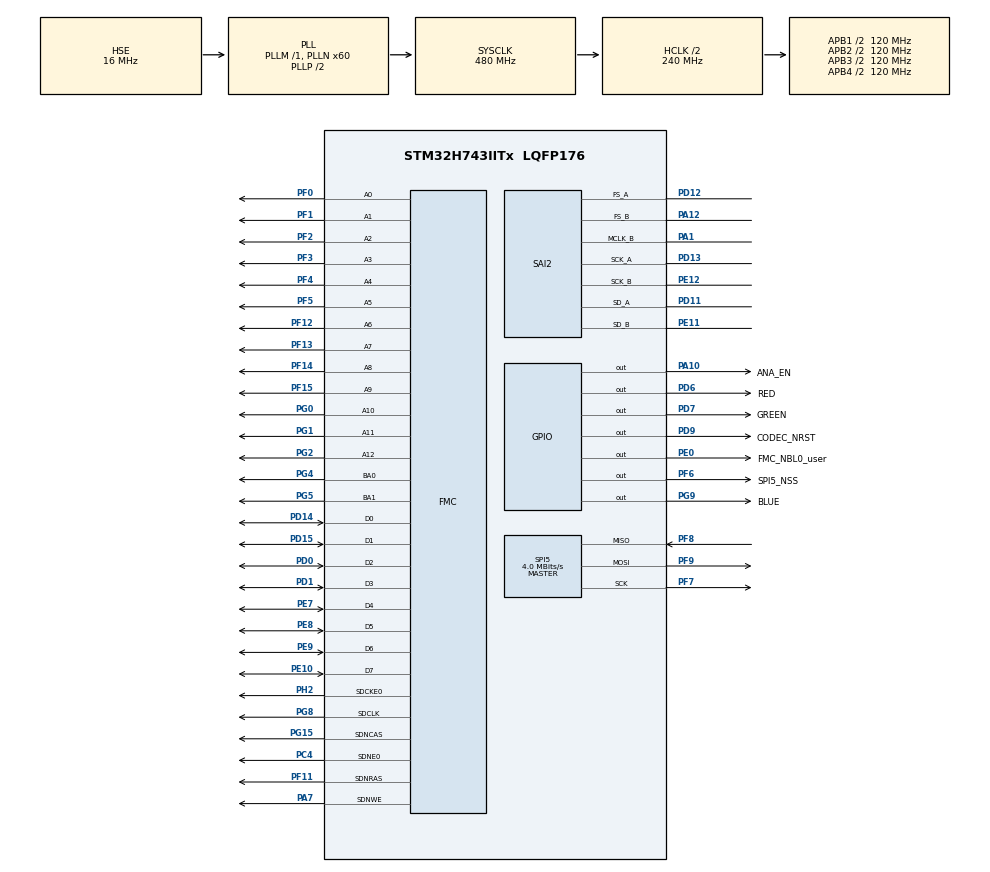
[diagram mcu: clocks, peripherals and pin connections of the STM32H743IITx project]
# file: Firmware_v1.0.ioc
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CORTEX_M7.CPU_DCache=Enabled
CORTEX_M7.CPU_ICache=Enabled
Dma.Request0=SAI2_A
Dma.Request1=SAI2_B
Dma.SAI2_A.0.Direction=DMA_PERIPH_TO_MEMORY
Dma.SAI2_A.0.EventEnable=DISABLE
Dma.SAI2_A.0.FIFOMode=DMA_FIFOMODE_ENABLE
Dma.SAI2_A.0.FIFOThreshold=DMA_FIFO_THRESHOLD_FULL
Dma.SAI2_A.0.Instance=DMA1_Stream0
Dma.SAI2_A.0.MemBurst=DMA_MBURST_SINGLE
Dma.SAI2_A.0.MemDataAlignment=DMA_MDATAALIGN_WORD
Dma.SAI2_A.0.MemInc=DMA_MINC_ENABLE
Dma.SAI2_A.0.Mode=DMA_CIRCULAR
Dma.SAI2_A.0.PeriphBurst=DMA_PBURST_SINGLE
Dma.SAI2_A.0.PeriphDataAlignment=DMA_PDATAALIGN_WORD
Dma.SAI2_A.0.PeriphInc=DMA_PINC_DISABLE
Dma.SAI2_A.0.Polarity=HAL_DMAMUX_REQ_GEN_RISING
Dma.SAI2_A.0.Priority=DMA_PRIORITY_VERY_HIGH
Dma.SAI2_A.0.RequestNumber=1
Dma.SAI2_A.0.SignalID=NONE
Dma.SAI2_A.0.SyncEnable=DISABLE
Dma.SAI2_A.0.SyncPolarity=HAL_DMAMUX_SYNC_NO_EVENT
Dma.SAI2_A.0.SyncRequestNumber=1
Dma.SAI2_A.0.SyncSignalID=NONE
Dma.SAI2_B.1.Direction=DMA_MEMORY_TO_PERIPH
Dma.SAI2_B.1.EventEnable=DISABLE
Dma.SAI2_B.1.FIFOMode=DMA_FIFOMODE_ENABLE
Dma.SAI2_B.1.FIFOThreshold=DMA_FIFO_THRESHOLD_FULL
Dma.SAI2_B.1.Instance=DMA1_Stream1
Dma.SAI2_B.1.MemBurst=DMA_MBURST_SINGLE
Dma.SAI2_B.1.MemDataAlignment=DMA_MDATAALIGN_WORD
Dma.SAI2_B.1.MemInc=DMA_MINC_ENABLE
Dma.SAI2_B.1.Mode=DMA_CIRCULAR
Dma.SAI2_B.1.PeriphBurst=DMA_PBURST_SINGLE
Dma.SAI2_B.1.PeriphDataAlignment=DMA_PDATAALIGN_WORD
Dma.SAI2_B.1.PeriphInc=DMA_PINC_DISABLE
Dma.SAI2_B.1.Polarity=HAL_DMAMUX_REQ_GEN_RISING
Dma.SAI2_B.1.Priority=DMA_PRIORITY_VERY_HIGH
Dma.SAI2_B.1.RequestNumber=1
Dma.SAI2_B.1.SignalID=NONE
Dma.SAI2_B.1.SyncEnable=DISABLE
Dma.SAI2_B.1.SyncPolarity=HAL_DMAMUX_SYNC_NO_EVENT
Dma.SAI2_B.1.SyncRequestNumber=1
Dma.SAI2_B.1.SyncSignalID=NONE
FMC.CASLatency1=FMC_SDRAM_CAS_LATENCY_2
FMC.ColumnBitsNumber1=FMC_SDRAM_COLUMN_BITS_NUM_10
FMC.ExitSelfRefreshDelay1=7
FMC.LoadToActiveDelay1=2
FMC.RCDDelay1=2
FMC.RPDelay1=2
FMC.ReadBurst1=FMC_SDRAM_RBURST_ENABLE
FMC.RowCycleDelay1=6
FMC.SDClockPeriod1=FMC_SDRAM_CLOCK_PERIOD_2
FMC.SDClockPeriod2=FMC_SDRAM_CLOCK_PERIOD_2
FMC.SelfRefreshTime1=5
FMC.WriteRecoveryTime1=3
Mcu.Family=STM32H7
Mcu.Name=STM32H743IITx
Mcu.Package=LQFP176
NVIC.DMA1_Stream0_IRQn=true\:0\:0\:false\:false\:true\:false\:true
NVIC.DMA1_Stream1_IRQn=true\:0\:0\:false\:false\:true\:false\:true
NVIC.FMC_IRQn=true\:0\:0\:false\:false\:true\:true\:true
NVIC.FPU_IRQn=true\:0\:0\:false\:false\:true\:true\:false
NVIC.PriorityGroup=NVIC_PRIORITYGROUP_4
NVIC.SAI2_IRQn=true\:0\:0\:false\:false\:true\:true\:true
NVIC.SPI5_IRQn=true\:0\:0\:false\:false\:true\:true\:true
PA1.GPIO_PuPd=GPIO_PULLUP
PA1.GPIO_Speed=GPIO_SPEED_FREQ_VERY_HIGH
PA1.Mode=SAI_B_MasterWithClock
PA1.Signal=SAI2_MCLK_B
PA10.GPIO_Label=ANA_EN
PA10.GPIO_Speed=GPIO_SPEED_FREQ_LOW
PA10.Signal=GPIO_Output
PA12.GPIO_PuPd=GPIO_PULLUP
PA12.GPIO_Speed=GPIO_SPEED_FREQ_VERY_HIGH
PA12.Mode=SAI_B_MasterWithClock
PA12.Signal=SAI2_FS_B
PA7.Signal=FMC_SDNWE
PC14-OSC32_IN\ (OSC32_IN).Mode=LSE-External-Oscillator
PC14-OSC32_IN\ (OSC32_IN).Signal=RCC_OSC32_IN
PC15-OSC32_OUT\ (OSC32_OUT).Mode=LSE-External-Oscillator
PC15-OSC32_OUT\ (OSC32_OUT).Signal=RCC_OSC32_OUT
PC4.Mode=SdramChipSelect1_1
PC4.Signal=FMC_SDNE0
PD0.Signal=FMC_D2_DA2
PD1.Signal=FMC_D3_DA3
PD11.GPIO_PuPd=GPIO_PULLUP
PD11.GPIO_Speed=GPIO_SPEED_FREQ_VERY_HIGH
PD11.Mode=SAI_A_Master
PD11.Signal=SAI2_SD_A
PD12.GPIO_PuPd=GPIO_PULLUP
PD12.GPIO_Speed=GPIO_SPEED_FREQ_VERY_HIGH
PD12.Mode=SAI_A_Master
PD12.Signal=SAI2_FS_A
PD13.GPIO_PuPd=GPIO_PULLUP
PD13.GPIO_Speed=GPIO_SPEED_FREQ_VERY_HIGH
PD13.Mode=SAI_A_Master
PD13.Signal=SAI2_SCK_A
PD14.Signal=FMC_D0_DA0
PD15.Signal=FMC_D1_DA1
PD6.GPIO_Label=RED
PD6.Signal=GPIO_Output
PD7.GPIO_Label=GREEN
PD7.Signal=GPIO_Output
PD9.GPIO_Label=CODEC_NRST
PD9.Signal=GPIO_Output
PE0.GPIO_Label=FMC_NBL0_user
PE0.Signal=GPIO_Output
PE10.Signal=FMC_D7_DA7
PE11.GPIO_PuPd=GPIO_PULLUP
PE11.GPIO_Speed=GPIO_SPEED_FREQ_VERY_HIGH
PE11.Mode=SAI_B_MasterWithClock
PE11.Signal=SAI2_SD_B
PE12.GPIO_PuPd=GPIO_PULLUP
PE12.GPIO_Speed=GPIO_SPEED_FREQ_VERY_HIGH
PE12.Mode=SAI_B_MasterWithClock
PE12.Signal=SAI2_SCK_B
PE7.Signal=FMC_D4_DA4
PE8.Signal=FMC_D5_DA5
PE9.Signal=FMC_D6_DA6
PF0.Signal=FMC_A0
PF1.Signal=FMC_A1
PF11.Signal=FMC_SDNRAS
PF12.Signal=FMC_A6
PF13.Signal=FMC_A7
PF14.Signal=FMC_A8
PF15.Signal=FMC_A9
PF2.Signal=FMC_A2
PF3.Signal=FMC_A3
PF4.Signal=FMC_A4
PF5.Signal=FMC_A5
PF6.GPIO_Label=SPI5_NSS
PF6.Signal=GPIO_Output
PF7.Mode=Full_Duplex_Master
PF7.Signal=SPI5_SCK
PF8.Mode=Full_Duplex_Master
PF8.Signal=SPI5_MISO
PF9.Mode=Full_Duplex_Master
PF9.Signal=SPI5_MOSI
PG0.Signal=FMC_A10
PG1.Signal=FMC_A11
PG15.Signal=FMC_SDNCAS
PG2.Signal=FMC_A12
PG4.Signal=FMC_A14_BA0
PG5.Signal=FMC_A15_BA1
PG8.Signal=FMC_SDCLK
PG9.GPIO_Label=BLUE
PG9.Signal=GPIO_Output
PH0-OSC_IN\ (PH0).Mode=HSE-External-Oscillator
PH0-OSC_IN\ (PH0).Signal=RCC_OSC_IN
PH1-OSC_OUT\ (PH1).Mode=HSE-External-Oscillator
PH1-OSC_OUT\ (PH1).Signal=RCC_OSC_OUT
PH2.Mode=SdramChipSelect1_1
PH2.Signal=FMC_SDCKE0
ProjectManager.HeapSize=0x200
ProjectManager.StackSize=0x400
ProjectManager.TargetToolchain=TrueSTUDIO
RCC.ADCFreq_Value=49151999.080882356
RCC.APB1Freq_Value=120000000
RCC.APB2Freq_Value=120000000
RCC.APB3Freq_Value=120000000
RCC.APB4Freq_Value=120000000
RCC.CortexFreq_Value=480000000
RCC.D1PPRE=RCC_APB3_DIV2
RCC.D2PPRE1=RCC_APB1_DIV2
RCC.D2PPRE2=RCC_APB2_DIV2
RCC.D3PPRE=RCC_APB4_DIV2
RCC.DIVM1=1
RCC.DIVM2=1
RCC.DIVN1=60
RCC.DIVN2=52
RCC.DIVP2=17
RCC.DIVQ1=5
RCC.HCLKFreq_Value=240000000
RCC.HPRE=RCC_HCLK_DIV2
RCC.HSE_VALUE=16000000
RCC.PLL2FRACN=1835
RCC.PLLFRACN=0
RCC.PLLSourceVirtual=RCC_PLLSOURCE_HSE
RCC.SAI23CLockSelection=RCC_SAI23CLKSOURCE_PLL2
RCC.SYSCLKFreq_VALUE=480000000
RCC.SYSCLKSource=RCC_SYSCLKSOURCE_PLLCLK
RCC.Spi45ClockSelection=RCC_SPI45CLKSOURCE_HSE
RCC.USBFreq_Value=192000000
SAI2.AudioFrequency-SAI_A_Master=SAI_AUDIO_FREQUENCY_96K
SAI2.AudioFrequency-SAI_B_MasterWithClock=SAI_AUDIO_FREQUENCY_96K
SAI2.AudioMode-SAI_A_Master=SAI_MODEMASTER_RX
SAI2.ClockStrobing-SAI_B_MasterWithClock=SAI_CLOCKSTROBING_RISINGEDGE
SAI2.DataSize-SAI_A_Master=SAI_DATASIZE_32
SAI2.DataSize-SAI_B_MasterWithClock=SAI_DATASIZE_32
SAI2.ErrorAudioFreq-SAI_A_Master=0.0 %
SAI2.ErrorAudioFreq-SAI_B_MasterWithClock=0.0 %
SAI2.FIFOThreshold-SAI_A_Master=SAI_FIFOTHRESHOLD_FULL
SAI2.FIFOThreshold-SAI_B_MasterWithClock=SAI_FIFOTHRESHOLD_FULL
SAI2.FSPolarity-SAI_A_Master=SAI_FS_ACTIVE_HIGH
SAI2.FSPolarity-SAI_B_MasterWithClock=SAI_FS_ACTIVE_HIGH
SAI2.FrameLength-SAI_A_Master=256
SAI2.FrameLength-SAI_B_MasterWithClock=256
SAI2.Instance-SAI_A_Master=SAI$Index_Block_A
SAI2.Instance-SAI_B_MasterWithClock=SAI$Index_Block_B
SAI2.MClockEnable-SAI_A_Master=SAI_MASTERCLOCK_DISABLE
SAI2.MClockEnable-SAI_B_MasterWithClock=SAI_MASTERCLOCK_ENABLE
SAI2.OutputDrive-SAI_A_Master=SAI_OUTPUTDRIVE_ENABLE
SAI2.OutputDrive-SAI_B_MasterWithClock=SAI_OUTPUTDRIVE_ENABLE
SAI2.RealAudioFreq-SAI_A_Master=95.999 KHz
SAI2.RealAudioFreq-SAI_B_MasterWithClock=95.999 KHz
SAI2.SlotActive-SAI_A_Master=0x000000FF
SAI2.SlotActive-SAI_B_MasterWithClock=0x000000FF
SAI2.SlotNumber-SAI_A_Master=8
SAI2.SlotNumber-SAI_B_MasterWithClock=8
SAI2.SynchroExt=SAI_SYNCEXT_OUTBLOCKB_ENABLE
SAI2.VirtualMode-SAI_A_Master=VM_MASTER
SAI2.VirtualMode-SAI_B_MasterWithClock=VM_MASTER
SAI2.VirtualSlotActive-SAI_A_Master=SAI_SLOT_USERSETTING
SAI2.VirtualSlotActive-SAI_B_MasterWithClock=SAI_SLOT_USERSETTING
SAI2.VirtualSlotActive0-SAI_A_Master=true
SAI2.VirtualSlotActive0-SAI_B_MasterWithClock=true
SAI2.VirtualSlotActive1-SAI_A_Master=true
SAI2.VirtualSlotActive1-SAI_B_MasterWithClock=true
SAI2.VirtualSlotActive2-SAI_A_Master=true
SAI2.VirtualSlotActive2-SAI_B_MasterWithClock=true
SAI2.VirtualSlotActive3-SAI_A_Master=true
SAI2.VirtualSlotActive3-SAI_B_MasterWithClock=true
SAI2.VirtualSlotActive4-SAI_A_Master=true
SAI2.VirtualSlotActive4-SAI_B_MasterWithClock=true
SAI2.VirtualSlotActive5-SAI_A_Master=true
SAI2.VirtualSlotActive5-SAI_B_MasterWithClock=true
SAI2.VirtualSlotActive6-SAI_A_Master=true
SAI2.VirtualSlotActive6-SAI_B_MasterWithClock=true
SAI2.VirtualSlotActive7-SAI_A_Master=true
SAI2.VirtualSlotActive7-SAI_B_MasterWithClock=true
SH.FMC_A0.0=FMC_A0,13b-sda1
SH.FMC_A1.0=FMC_A1,13b-sda1
SH.FMC_A10.0=FMC_A10,13b-sda1
SH.FMC_A11.0=FMC_A11,13b-sda1
SH.FMC_A12.0=FMC_A12,13b-sda1
SH.FMC_A14_BA0.0=FMC_BA0,FourSdramBanks1
SH.FMC_A15_BA1.0=FMC_BA1,FourSdramBanks1
SH.FMC_A2.0=FMC_A2,13b-sda1
SH.FMC_A3.0=FMC_A3,13b-sda1
SH.FMC_A4.0=FMC_A4,13b-sda1
SH.FMC_A5.0=FMC_A5,13b-sda1
SH.FMC_A6.0=FMC_A6,13b-sda1
SH.FMC_A7.0=FMC_A7,13b-sda1
SH.FMC_A8.0=FMC_A8,13b-sda1
SH.FMC_A9.0=FMC_A9,13b-sda1
SH.FMC_D0_DA0.0=FMC_D0,sd-8b-d1
SH.FMC_D1_DA1.0=FMC_D1,sd-8b-d1
SH.FMC_D2_DA2.0=FMC_D2,sd-8b-d1
SH.FMC_D3_DA3.0=FMC_D3,sd-8b-d1
SH.FMC_D4_DA4.0=FMC_D4,sd-8b-d1
SH.FMC_D5_DA5.0=FMC_D5,sd-8b-d1
SH.FMC_D6_DA6.0=FMC_D6,sd-8b-d1
SH.FMC_D7_DA7.0=FMC_D7,sd-8b-d1
SH.FMC_SDCLK.0=FMC_SDCLK,13b-sda1
SH.FMC_SDNCAS.0=FMC_SDNCAS,13b-sda1
SH.FMC_SDNRAS.0=FMC_SDNRAS,13b-sda1
SH.FMC_SDNWE.0=FMC_SDNWE,13b-sda1
SPI5.BaudRatePrescaler=SPI_BAUDRATEPRESCALER_4
SPI5.CLKPhase=SPI_PHASE_2EDGE
SPI5.CalculateBaudRate=4.0 MBits/s
SPI5.DataSize=SPI_DATASIZE_8BIT
SPI5.Direction=SPI_DIRECTION_2LINES
SPI5.FifoThreshold=SPI_FIFO_THRESHOLD_08DATA
SPI5.MasterReceiverAutoSusp=SPI_MASTER_RX_AUTOSUSP_DISABLE
SPI5.Mode=SPI_MODE_MASTER
SPI5.VirtualType=VM_MASTER
VP_SAI2_VP_$IpInstance_SYNCHRO_EXTERNAL.Mode=SynchroExternal
board=custom

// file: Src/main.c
/* USER CODE BEGIN Header */
/**
  ******************************************************************************
  * @file           : main.c
  * @brief          : Main program body
  ******************************************************************************
  * @attention
  *
  * <h2><center>&copy; Copyright (c) 2019 STMicroelectronics.
  * All rights reserved.</center></h2>
  *
  * This software component is licensed by ST under BSD 3-Clause license,
  * the "License"; You may not use this file except in compliance with the
  * License. You may obtain a copy of the License at:
  *                        opensource.org/licenses/BSD-3-Clause
  *
  ******************************************************************************
  */
/* USER CODE END Header */

#include "main.h"

/* USER CODE BEGIN Includes */
#include "SDRAM.h"
#include "CODEC.h"
/* USER CODE END Includes */

/* USER CODE BEGIN PD */
#define RAM_D1_BASE	0x24000000
#define RAM_D2_BASE	0x30000000
#define RAM_D3_BASE	0x38000000
#define ATTR_RAM_D1 __attribute__((section(".D1_data")))
#define ATTR_RAM_D2 __attribute__((section(".D2_data")))
#define ATTR_RAM_D3 __attribute__((section(".D3_data")))

/* USER CODE END PD */

SAI_HandleTypeDef hsai_BlockA2;
SAI_HandleTypeDef hsai_BlockB2;
DMA_HandleTypeDef hdma_sai2_a;
DMA_HandleTypeDef hdma_sai2_b;

SPI_HandleTypeDef hspi5;

SDRAM_HandleTypeDef hsdram1;

/* USER CODE BEGIN PV */
 volatile uint32_t audio_in[8]  ATTR_RAM_D3;
 volatile uint32_t audio_out[8]  ATTR_RAM_D3;
 uint32_t array[8] ATTR_RAM_D3;
/* USER CODE END PV */

void SystemClock_Config(void);
static void MX_GPIO_Init(void);
static void MX_FMC_Init(void);
static void MX_SAI2_Init(void);
static void MX_SPI5_Init(void);
static void MX_DMA_Init(void);

/* USER CODE BEGIN 0 */
void HAL_SAI_RxCpltCallback(SAI_HandleTypeDef *hsai)
{

	 /*audio_out[1] = audio_in[2];
	 audio_out[2] = audio_in[3];*/
	 if (hsai_BlockB2.State == HAL_SAI_STATE_READY)   HAL_SAI_Transmit(&hsai_BlockB2, (uint8_t *)audio_in, 8, 100);

	 HAL_Delay(1);

}

/* USER CODE END 0 */

int main(void)
{

  /* Enable I-Cache---------------------------------------------------------*/
  SCB_EnableICache();

  /* Enable D-Cache---------------------------------------------------------*/
  SCB_EnableDCache();

  /* MCU Configuration--------------------------------------------------------*/

  /* Reset of all peripherals, Initializes the Flash interface and the Systick. */
  HAL_Init();

  /* Configure the system clock */
  SystemClock_Config();

  /* Initialize all configured peripherals */
  MX_GPIO_Init();
  MX_FMC_Init();
  MX_SAI2_Init();
  MX_SPI5_Init();
  MX_DMA_Init();
  /* USER CODE BEGIN 2 */
  SDRAM_Init(&hsdram1);
  SDRAM_Clear();

  CODEC_Init_TDM(&hspi5);
  for (uint16_t x = 0; x < 2000; x++)
  {
	  HAL_SAI_Receive(&hsai_BlockA2, (uint8_t *)array, 8, 100);
	  HAL_SAI_Transmit(&hsai_BlockB2, (uint8_t *)array, 8, 100);
  }
  HAL_SAI_Receive_DMA(&hsai_BlockA2, (uint8_t *)audio_in, 8);

  /* USER CODE END 2 */

  /* Infinite loop */
  while (1)
  {

  }
}

void SystemClock_Config(void)
{
  RCC_OscInitTypeDef RCC_OscInitStruct = {0};
  RCC_ClkInitTypeDef RCC_ClkInitStruct = {0};
  RCC_PeriphCLKInitTypeDef PeriphClkInitStruct = {0};

  /** Supply configuration update enable
  */
  HAL_PWREx_ConfigSupply(PWR_LDO_SUPPLY);
  /** Configure the main internal regulator output voltage
  */
  __HAL_PWR_VOLTAGESCALING_CONFIG(PWR_REGULATOR_VOLTAGE_SCALE0);

  while(!__HAL_PWR_GET_FLAG(PWR_FLAG_VOSRDY)) {}
  /** Macro to configure the PLL clock source
  */
  __HAL_RCC_PLL_PLLSOURCE_CONFIG(RCC_PLLSOURCE_HSE);
  /** Initializes the CPU, AHB and APB busses clocks
  */
  RCC_OscInitStruct.OscillatorType = RCC_OSCILLATORTYPE_HSE;
  RCC_OscInitStruct.HSEState = RCC_HSE_ON;
  RCC_OscInitStruct.PLL.PLLState = RCC_PLL_ON;
  RCC_OscInitStruct.PLL.PLLSource = RCC_PLLSOURCE_HSE;
  RCC_OscInitStruct.PLL.PLLM = 1;
  RCC_OscInitStruct.PLL.PLLN = 60;
  RCC_OscInitStruct.PLL.PLLP = 2;
  RCC_OscInitStruct.PLL.PLLQ = 5;
  RCC_OscInitStruct.PLL.PLLR = 2;
  RCC_OscInitStruct.PLL.PLLRGE = RCC_PLL1VCIRANGE_3;
  RCC_OscInitStruct.PLL.PLLVCOSEL = RCC_PLL1VCOWIDE;
  RCC_OscInitStruct.PLL.PLLFRACN = 0;
  if (HAL_RCC_OscConfig(&RCC_OscInitStruct) != HAL_OK)
  {
    Error_Handler();
  }
  /** Initializes the CPU, AHB and APB busses clocks
  */
  RCC_ClkInitStruct.ClockType = RCC_CLOCKTYPE_HCLK|RCC_CLOCKTYPE_SYSCLK
                              |RCC_CLOCKTYPE_PCLK1|RCC_CLOCKTYPE_PCLK2
                              |RCC_CLOCKTYPE_D3PCLK1|RCC_CLOCKTYPE_D1PCLK1;
  RCC_ClkInitStruct.SYSCLKSource = RCC_SYSCLKSOURCE_PLLCLK;
  RCC_ClkInitStruct.SYSCLKDivider = RCC_SYSCLK_DIV1;
  RCC_ClkInitStruct.AHBCLKDivider = RCC_HCLK_DIV2;
  RCC_ClkInitStruct.APB3CLKDivider = RCC_APB3_DIV2;
  RCC_ClkInitStruct.APB1CLKDivider = RCC_APB1_DIV2;
  RCC_ClkInitStruct.APB2CLKDivider = RCC_APB2_DIV2;
  RCC_ClkInitStruct.APB4CLKDivider = RCC_APB4_DIV2;

  if (HAL_RCC_ClockConfig(&RCC_ClkInitStruct, FLASH_LATENCY_4) != HAL_OK)
  {
    Error_Handler();
  }
  PeriphClkInitStruct.PeriphClockSelection = RCC_PERIPHCLK_SPI5|RCC_PERIPHCLK_SAI2
                              |RCC_PERIPHCLK_FMC;
  PeriphClkInitStruct.PLL2.PLL2M = 1;
  PeriphClkInitStruct.PLL2.PLL2N = 52;
  PeriphClkInitStruct.PLL2.PLL2P = 17;
  PeriphClkInitStruct.PLL2.PLL2Q = 2;
  PeriphClkInitStruct.PLL2.PLL2R = 2;
  PeriphClkInitStruct.PLL2.PLL2RGE = RCC_PLL2VCIRANGE_3;
  PeriphClkInitStruct.PLL2.PLL2VCOSEL = RCC_PLL2VCOWIDE;
  PeriphClkInitStruct.PLL2.PLL2FRACN = 1835;
  PeriphClkInitStruct.FmcClockSelection = RCC_FMCCLKSOURCE_D1HCLK;
  PeriphClkInitStruct.Sai23ClockSelection = RCC_SAI23CLKSOURCE_PLL2;
  PeriphClkInitStruct.Spi45ClockSelection = RCC_SPI45CLKSOURCE_HSE;
  if (HAL_RCCEx_PeriphCLKConfig(&PeriphClkInitStruct) != HAL_OK)
  {
    Error_Handler();
  }
}

static void MX_SAI2_Init(void)
{

  hsai_BlockA2.Instance = SAI2_Block_A;
  hsai_BlockA2.Init.Protocol = SAI_FREE_PROTOCOL;
  hsai_BlockA2.Init.AudioMode = SAI_MODEMASTER_RX;
  hsai_BlockA2.Init.DataSize = SAI_DATASIZE_32;
  hsai_BlockA2.Init.FirstBit = SAI_FIRSTBIT_MSB;
  hsai_BlockA2.Init.ClockStrobing = SAI_CLOCKSTROBING_FALLINGEDGE;
  hsai_BlockA2.Init.Synchro = SAI_ASYNCHRONOUS;
  hsai_BlockA2.Init.OutputDrive = SAI_OUTPUTDRIVE_ENABLE;
  hsai_BlockA2.Init.NoDivider = SAI_MASTERDIVIDER_ENABLE;
  hsai_BlockA2.Init.FIFOThreshold = SAI_FIFOTHRESHOLD_FULL;
  hsai_BlockA2.Init.AudioFrequency = SAI_AUDIO_FREQUENCY_96K;
  hsai_BlockA2.Init.SynchroExt = SAI_SYNCEXT_OUTBLOCKB_ENABLE;
  hsai_BlockA2.Init.MonoStereoMode = SAI_STEREOMODE;
  hsai_BlockA2.Init.CompandingMode = SAI_NOCOMPANDING;
  hsai_BlockA2.Init.PdmInit.Activation = DISABLE;
  hsai_BlockA2.Init.PdmInit.MicPairsNbr = 1;
  hsai_BlockA2.Init.PdmInit.ClockEnable = SAI_PDM_CLOCK1_ENABLE;
  hsai_BlockA2.FrameInit.FrameLength = 256;
  hsai_BlockA2.FrameInit.ActiveFrameLength = 1;
  hsai_BlockA2.FrameInit.FSDefinition = SAI_FS_STARTFRAME;
  hsai_BlockA2.FrameInit.FSPolarity = SAI_FS_ACTIVE_HIGH;
  hsai_BlockA2.FrameInit.FSOffset = SAI_FS_FIRSTBIT;
  hsai_BlockA2.SlotInit.FirstBitOffset = 0;
  hsai_BlockA2.SlotInit.SlotSize = SAI_SLOTSIZE_DATASIZE;
  hsai_BlockA2.SlotInit.SlotNumber = 8;
  hsai_BlockA2.SlotInit.SlotActive = 0x000000FF;
  if (HAL_SAI_Init(&hsai_BlockA2) != HAL_OK)
  {
    Error_Handler();
  }
  hsai_BlockB2.Instance = SAI2_Block_B;
  hsai_BlockB2.Init.Protocol = SAI_FREE_PROTOCOL;
  hsai_BlockB2.Init.AudioMode = SAI_MODEMASTER_TX;
  hsai_BlockB2.Init.DataSize = SAI_DATASIZE_32;
  hsai_BlockB2.Init.FirstBit = SAI_FIRSTBIT_MSB;
  hsai_BlockB2.Init.ClockStrobing = SAI_CLOCKSTROBING_RISINGEDGE;
  hsai_BlockB2.Init.Synchro = SAI_ASYNCHRONOUS;
  hsai_BlockB2.Init.OutputDrive = SAI_OUTPUTDRIVE_ENABLE;
  hsai_BlockB2.Init.NoDivider = SAI_MASTERDIVIDER_ENABLE;
  hsai_BlockB2.Init.FIFOThreshold = SAI_FIFOTHRESHOLD_FULL;
  hsai_BlockB2.Init.AudioFrequency = SAI_AUDIO_FREQUENCY_96K;
  hsai_BlockB2.Init.SynchroExt = SAI_SYNCEXT_OUTBLOCKB_ENABLE;
  hsai_BlockB2.Init.MonoStereoMode = SAI_STEREOMODE;
  hsai_BlockB2.Init.CompandingMode = SAI_NOCOMPANDING;
  hsai_BlockB2.Init.TriState = SAI_OUTPUT_NOTRELEASED;
  hsai_BlockB2.Init.PdmInit.Activation = DISABLE;
  hsai_BlockB2.Init.PdmInit.MicPairsNbr = 1;
  hsai_BlockB2.Init.PdmInit.ClockEnable = SAI_PDM_CLOCK1_ENABLE;
  hsai_BlockB2.FrameInit.FrameLength = 256;
  hsai_BlockB2.FrameInit.ActiveFrameLength = 1;
  hsai_BlockB2.FrameInit.FSDefinition = SAI_FS_STARTFRAME;
  hsai_BlockB2.FrameInit.FSPolarity = SAI_FS_ACTIVE_HIGH;
  hsai_BlockB2.FrameInit.FSOffset = SAI_FS_FIRSTBIT;
  hsai_BlockB2.SlotInit.FirstBitOffset = 0;
  hsai_BlockB2.SlotInit.SlotSize = SAI_SLOTSIZE_DATASIZE;
  hsai_BlockB2.SlotInit.SlotNumber = 8;
  hsai_BlockB2.SlotInit.SlotActive = 0x000000FF;
  if (HAL_SAI_Init(&hsai_BlockB2) != HAL_OK)
  {
    Error_Handler();
  }

}

static void MX_SPI5_Init(void)
{

  /* SPI5 parameter configuration*/
  hspi5.Instance = SPI5;
  hspi5.Init.Mode = SPI_MODE_MASTER;
  hspi5.Init.Direction = SPI_DIRECTION_2LINES;
  hspi5.Init.DataSize = SPI_DATASIZE_8BIT;
  hspi5.Init.CLKPolarity = SPI_POLARITY_LOW;
  hspi5.Init.CLKPhase = SPI_PHASE_2EDGE;
  hspi5.Init.NSS = SPI_NSS_SOFT;
  hspi5.Init.BaudRatePrescaler = SPI_BAUDRATEPRESCALER_4;
  hspi5.Init.FirstBit = SPI_FIRSTBIT_MSB;
  hspi5.Init.TIMode = SPI_TIMODE_DISABLE;
  hspi5.Init.CRCCalculation = SPI_CRCCALCULATION_DISABLE;
  hspi5.Init.CRCPolynomial = 0x0;
  hspi5.Init.NSSPMode = SPI_NSS_PULSE_ENABLE;
  hspi5.Init.NSSPolarity = SPI_NSS_POLARITY_LOW;
  hspi5.Init.FifoThreshold = SPI_FIFO_THRESHOLD_08DATA;
  hspi5.Init.TxCRCInitializationPattern = SPI_CRC_INITIALIZATION_ALL_ZERO_PATTERN;
  hspi5.Init.RxCRCInitializationPattern = SPI_CRC_INITIALIZATION_ALL_ZERO_PATTERN;
  hspi5.Init.MasterSSIdleness = SPI_MASTER_SS_IDLENESS_00CYCLE;
  hspi5.Init.MasterInterDataIdleness = SPI_MASTER_INTERDATA_IDLENESS_00CYCLE;
  hspi5.Init.MasterReceiverAutoSusp = SPI_MASTER_RX_AUTOSUSP_DISABLE;
  hspi5.Init.MasterKeepIOState = SPI_MASTER_KEEP_IO_STATE_DISABLE;
  hspi5.Init.IOSwap = SPI_IO_SWAP_DISABLE;
  if (HAL_SPI_Init(&hspi5) != HAL_OK)
  {
    Error_Handler();
  }

}

static void MX_DMA_Init(void)
{

  /* DMA controller clock enable */
  __HAL_RCC_DMA1_CLK_ENABLE();

  /* DMA interrupt init */
  /* DMA1_Stream0_IRQn interrupt configuration */
  HAL_NVIC_SetPriority(DMA1_Stream0_IRQn, 0, 0);
  HAL_NVIC_EnableIRQ(DMA1_Stream0_IRQn);
  /* DMA1_Stream1_IRQn interrupt configuration */
  HAL_NVIC_SetPriority(DMA1_Stream1_IRQn, 0, 0);
  HAL_NVIC_EnableIRQ(DMA1_Stream1_IRQn);

}

/* FMC initialization function */
static void MX_FMC_Init(void)
{

  FMC_SDRAM_TimingTypeDef SdramTiming = {0};

  /** Perform the SDRAM1 memory initialization sequence
  */
  hsdram1.Instance = FMC_SDRAM_DEVICE;
  /* hsdram1.Init */
  hsdram1.Init.SDBank = FMC_SDRAM_BANK1;
  hsdram1.Init.ColumnBitsNumber = FMC_SDRAM_COLUMN_BITS_NUM_10;
  hsdram1.Init.RowBitsNumber = FMC_SDRAM_ROW_BITS_NUM_13;
  hsdram1.Init.MemoryDataWidth = FMC_SDRAM_MEM_BUS_WIDTH_8;
  hsdram1.Init.InternalBankNumber = FMC_SDRAM_INTERN_BANKS_NUM_4;
  hsdram1.Init.CASLatency = FMC_SDRAM_CAS_LATENCY_2;
  hsdram1.Init.WriteProtection = FMC_SDRAM_WRITE_PROTECTION_DISABLE;
  hsdram1.Init.SDClockPeriod = FMC_SDRAM_CLOCK_PERIOD_2;
  hsdram1.Init.ReadBurst = FMC_SDRAM_RBURST_ENABLE;
  hsdram1.Init.ReadPipeDelay = FMC_SDRAM_RPIPE_DELAY_0;
  /* SdramTiming */
  SdramTiming.LoadToActiveDelay = 2;
  SdramTiming.ExitSelfRefreshDelay = 7;
  SdramTiming.SelfRefreshTime = 5;
  SdramTiming.RowCycleDelay = 6;
  SdramTiming.WriteRecoveryTime = 3;
  SdramTiming.RPDelay = 2;
  SdramTiming.RCDDelay = 2;

  if (HAL_SDRAM_Init(&hsdram1, &SdramTiming) != HAL_OK)
  {
    Error_Handler( );
  }

}

static void MX_GPIO_Init(void)
{
  GPIO_InitTypeDef GPIO_InitStruct = {0};

  /* GPIO Ports Clock Enable */
  __HAL_RCC_GPIOC_CLK_ENABLE();
  __HAL_RCC_GPIOF_CLK_ENABLE();
  __HAL_RCC_GPIOH_CLK_ENABLE();
  __HAL_RCC_GPIOA_CLK_ENABLE();
  __HAL_RCC_GPIOG_CLK_ENABLE();
  __HAL_RCC_GPIOE_CLK_ENABLE();
  __HAL_RCC_GPIOD_CLK_ENABLE();

  /*Configure GPIO pin Output Level */
  HAL_GPIO_WritePin(SPI5_NSS_GPIO_Port, SPI5_NSS_Pin, GPIO_PIN_RESET);

  /*Configure GPIO pin Output Level */
  HAL_GPIO_WritePin(GPIOD, CODEC_NRST_Pin|RED_Pin|GREEN_Pin, GPIO_PIN_RESET);

  /*Configure GPIO pin Output Level */
  HAL_GPIO_WritePin(ANA_EN_GPIO_Port, ANA_EN_Pin, GPIO_PIN_RESET);

  /*Configure GPIO pin Output Level */
  HAL_GPIO_WritePin(BLUE_GPIO_Port, BLUE_Pin, GPIO_PIN_RESET);

  /*Configure GPIO pin Output Level */
  HAL_GPIO_WritePin(FMC_NBL0_user_GPIO_Port, FMC_NBL0_user_Pin, GPIO_PIN_RESET);

  /*Configure GPIO pin : SPI5_NSS_Pin */
  GPIO_InitStruct.Pin = SPI5_NSS_Pin;
  GPIO_InitStruct.Mode = GPIO_MODE_OUTPUT_PP;
  GPIO_InitStruct.Pull = GPIO_NOPULL;
  GPIO_InitStruct.Speed = GPIO_SPEED_FREQ_LOW;
  HAL_GPIO_Init(SPI5_NSS_GPIO_Port, &GPIO_InitStruct);

  /*Configure GPIO pins : CODEC_NRST_Pin RED_Pin GREEN_Pin */
  GPIO_InitStruct.Pin = CODEC_NRST_Pin|RED_Pin|GREEN_Pin;
  GPIO_InitStruct.Mode = GPIO_MODE_OUTPUT_PP;
  GPIO_InitStruct.Pull = GPIO_NOPULL;
  GPIO_InitStruct.Speed = GPIO_SPEED_FREQ_LOW;
  HAL_GPIO_Init(GPIOD, &GPIO_InitStruct);

  /*Configure GPIO pin : ANA_EN_Pin */
  GPIO_InitStruct.Pin = ANA_EN_Pin;
  GPIO_InitStruct.Mode = GPIO_MODE_OUTPUT_PP;
  GPIO_InitStruct.Pull = GPIO_NOPULL;
  GPIO_InitStruct.Speed = GPIO_SPEED_FREQ_LOW;
  HAL_GPIO_Init(ANA_EN_GPIO_Port, &GPIO_InitStruct);

  /*Configure GPIO pin : BLUE_Pin */
  GPIO_InitStruct.Pin = BLUE_Pin;
  GPIO_InitStruct.Mode = GPIO_MODE_OUTPUT_PP;
  GPIO_InitStruct.Pull = GPIO_NOPULL;
  GPIO_InitStruct.Speed = GPIO_SPEED_FREQ_LOW;
  HAL_GPIO_Init(BLUE_GPIO_Port, &GPIO_InitStruct);

  /*Configure GPIO pin : FMC_NBL0_user_Pin */
  GPIO_InitStruct.Pin = FMC_NBL0_user_Pin;
  GPIO_InitStruct.Mode = GPIO_MODE_OUTPUT_PP;
  GPIO_InitStruct.Pull = GPIO_NOPULL;
  GPIO_InitStruct.Speed = GPIO_SPEED_FREQ_LOW;
  HAL_GPIO_Init(FMC_NBL0_user_GPIO_Port, &GPIO_InitStruct);

}

void Error_Handler(void)
{
}

/************************ (C) COPYRIGHT STMicroelectronics *****END OF FILE****/
